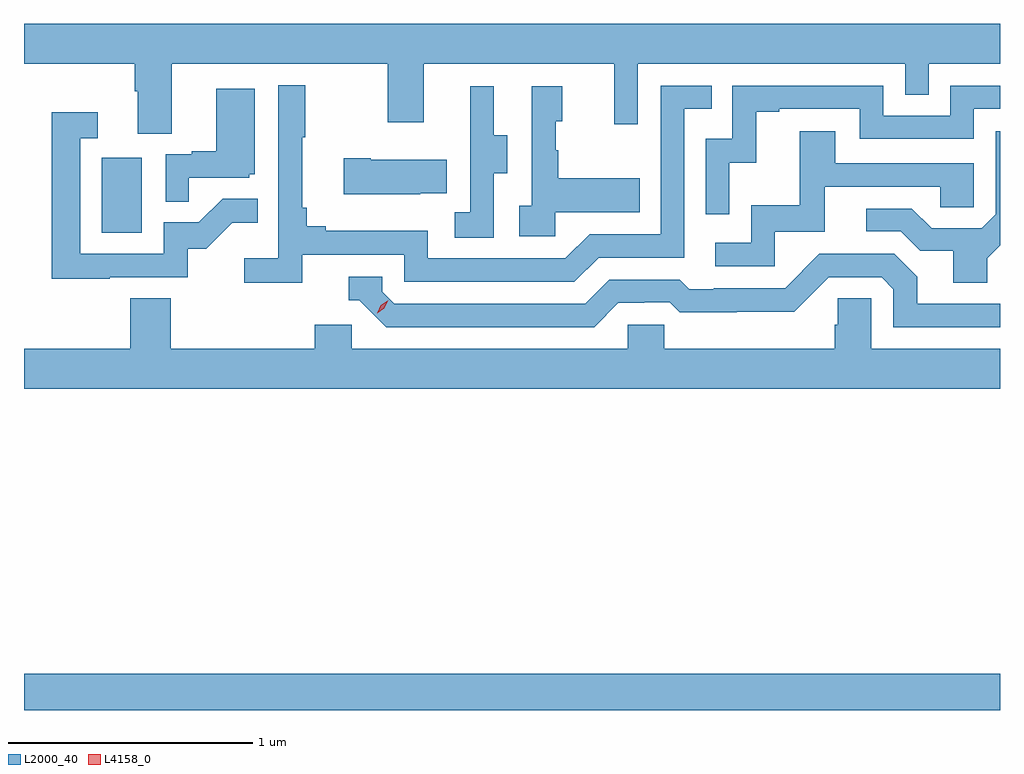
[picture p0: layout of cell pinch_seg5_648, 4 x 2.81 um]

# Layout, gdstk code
import gdstk
lib = gdstk.Library(unit=1e-6, precision=1e-09)
def R(c, l, rs):  # rectangles x0, y0, x1, y1
    for r in rs: c.add(gdstk.rectangle(r[:2], r[2:], *l))
def P(c, l, *ps):  # polygons
    for p in ps: c.add(gdstk.Polygon(p, *l))
L2000_40 = (2000, 40)
L4158_0 = (4158, 0)

pinch_seg5_648 = lib.new_cell('pinch_seg5_648')
R(pinch_seg5_648, L2000_40, [(1040.569,832.799,1044.569,832.948), (1040.888,834.756,1041.052,835.063)])
P(pinch_seg5_648, L2000_40, [(1041.175,835.448),(1042.06,835.448),(1042.06,835.209),(1042.207,835.209),(1042.207,835.448),(1042.988,835.448),(1042.988,835.2),(1043.085,835.2),(1043.085,835.448),(1044.18,835.448),(1044.18,835.321),(1044.276,835.321),(1044.276,835.448),(1044.569,835.448),(1044.569,835.612),(1040.569,835.612),(1040.569,835.448),(1041.023,835.448),(1041.023,835.336),(1041.035,835.336),(1041.035,835.162),(1041.175,835.162)],
  [(1041.71,834.666),(1042.128,834.666),(1042.128,834.555),(1042.825,834.555),(1042.924,834.654),(1043.274,834.654),(1043.274,835.263),(1043.387,835.263),(1043.387,835.359),(1043.178,835.359),(1043.178,834.75),(1042.887,834.75),(1042.788,834.651),(1042.224,834.651),(1042.224,834.763),(1041.805,834.763),(1041.805,834.782),(1041.728,834.782),(1041.728,834.859),(1041.709,834.859),(1041.709,835.147),(1041.721,835.147),(1041.721,835.36),(1041.612,835.36),(1041.612,834.652),(1041.471,834.652),(1041.471,834.55),(1041.71,834.55)],
  [(1043.46,835.043),(1043.57,835.043),(1043.57,835.251),(1043.665,835.251),(1043.665,835.263),(1043.994,835.263),(1043.994,835.14),(1044.462,835.14),(1044.462,835.263),(1044.569,835.263),(1044.569,835.359),(1044.366,835.359),(1044.366,835.236),(1044.09,835.236),(1044.09,835.359),(1043.472,835.359),(1043.472,835.14),(1043.364,835.14),(1043.364,834.831),(1043.46,834.831)],
  [(1042.746,834.839),(1043.093,834.839),(1043.093,834.979),(1042.759,834.979),(1042.759,835.094),(1042.749,835.094),(1042.749,835.212),(1042.774,835.212),(1042.774,835.357),(1042.65,835.357),(1042.65,834.866),(1042.599,834.866),(1042.599,834.741),(1042.746,834.741)],
  [(1042.494,835),(1042.549,835),(1042.549,835.155),(1042.495,835.155),(1042.495,835.357),(1042.397,835.357),(1042.397,835.143),(1042.398,835.143),(1042.398,834.839),(1042.335,834.839),(1042.335,834.736),(1042.494,834.736)],
  [(1041.245,834.981),(1041.492,834.981),(1041.492,834.996),(1041.514,834.996),(1041.514,835.345),(1041.356,835.345),(1041.356,835.09),(1041.257,835.09),(1041.257,835.077),(1041.15,835.077),(1041.15,834.883),(1041.245,834.883)],
  [(1040.921,834.573),(1041.24,834.573),(1041.24,834.69),(1041.316,834.69),(1041.423,834.797),(1041.527,834.797),(1041.527,834.896),(1041.383,834.896),(1041.285,834.798),(1041.141,834.798),(1041.141,834.669),(1040.799,834.669),(1040.799,835.143),(1040.872,835.143),(1040.872,835.249),(1040.683,835.249),(1040.683,834.568),(1040.921,834.568)],
  [(1043.646,834.759),(1043.851,834.759),(1043.851,834.945),(1044.325,834.945),(1044.325,834.861),(1044.462,834.861),(1044.462,835.041),(1043.893,835.041),(1043.893,835.171),(1043.749,835.171),(1043.749,834.868),(1043.55,834.868),(1043.55,834.714),(1043.403,834.714),(1043.403,834.618),(1043.646,834.618)],
  [(1044.517,834.652),(1044.569,834.704),(1044.569,835.171),(1044.552,835.171),(1044.552,834.831),(1044.495,834.774),(1044.289,834.774),(1044.208,834.855),(1044.021,834.855),(1044.021,834.762),(1044.162,834.762),(1044.242,834.682),(1044.377,834.682),(1044.377,834.55),(1044.517,834.55)],
  [(1042.193,834.917),(1042.301,834.917),(1042.301,835.054),(1041.991,835.054),(1041.991,835.062),(1041.879,835.062),(1041.879,834.914),(1042.193,834.914)],
  [(1043.005,834.468),(1043.112,834.468),(1043.112,834.471),(1043.215,834.471),(1043.257,834.429),(1043.49,834.429),(1043.49,834.431),(1043.726,834.431),(1043.868,834.573),(1044.084,834.573),(1044.132,834.525),(1044.132,834.369),(1044.569,834.369),(1044.569,834.465),(1044.229,834.465),(1044.229,834.575),(1044.135,834.669),(1043.829,834.669),(1043.688,834.528),(1043.395,834.528),(1043.395,834.525),(1043.296,834.525),(1043.257,834.564),(1042.968,834.564),(1042.869,834.465),(1042.086,834.465),(1042.038,834.513),(1042.038,834.576),(1041.899,834.576),(1041.899,834.48),(1041.942,834.48),(1042.053,834.369),(1042.906,834.369)],
  [(1044.569,834.28),(1044.042,834.28),(1044.042,834.488),(1043.905,834.488),(1043.905,834.378),(1043.891,834.378),(1043.891,834.28),(1043.193,834.28),(1043.193,834.378),(1043.043,834.378),(1043.043,834.28),(1041.912,834.28),(1041.912,834.378),(1041.761,834.378),(1041.761,834.28),(1041.17,834.28),(1041.17,834.488),(1041.005,834.488),(1041.005,834.28),(1040.569,834.28),(1040.569,834.116),(1044.569,834.116)])
P(pinch_seg5_648, L4158_0, [(1042.016,834.426),(1042.016,834.426),(1042.031,834.459),(1042.062,834.479),(1042.062,834.479),(1042.062,834.479),(1042.046,834.446),(1042.016,834.426)])

lib.write_gds('pinch_seg5_648.gds')
